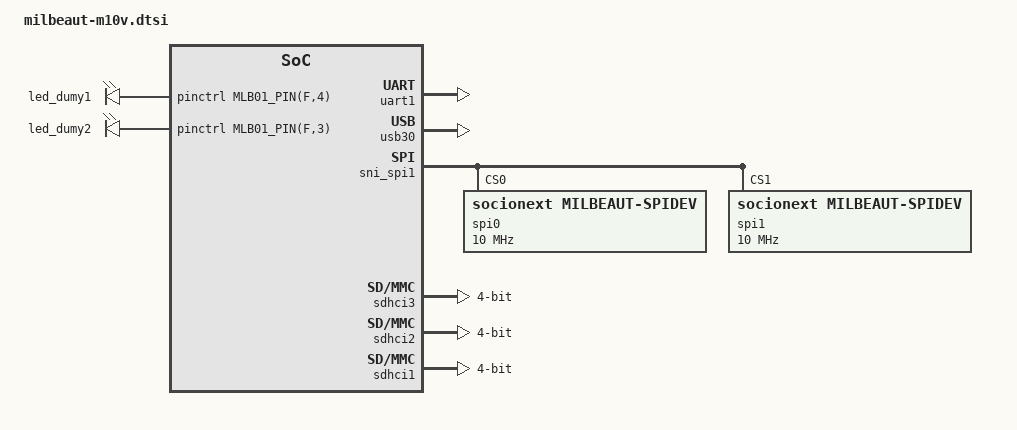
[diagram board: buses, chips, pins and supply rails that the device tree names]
// SPDX-License-Identifier: GPL-2.0
#include <dt-bindings/interrupt-controller/irq.h>
#include <dt-bindings/input/input.h>
#include <dt-bindings/gpio/gpio.h>
#include <dt-bindings/interrupt-controller/arm-gic.h>
#include <dt-bindings/clock/milbeaut,m10v-clock.h>
#include "milbeaut-m10v-gpio.h"
//#define MPCORE

/ {
	compatible = "socionext,sc2000a";
	interrupt-parent = <&gic>;
	#address-cells = <1>;
	#size-cells = <1>;


	timer { /* The Generic Timer */
		compatible = "arm,armv7-timer";
		interrupts = <GIC_PPI 13
				(GIC_CPU_MASK_SIMPLE(4) | IRQ_TYPE_LEVEL_HIGH)>,
			<GIC_PPI 14
				(GIC_CPU_MASK_SIMPLE(4) | IRQ_TYPE_LEVEL_HIGH)>,
			<GIC_PPI 11
				(GIC_CPU_MASK_SIMPLE(4) | IRQ_TYPE_LEVEL_HIGH)>,
			<GIC_PPI 10
				(GIC_CPU_MASK_SIMPLE(4) | IRQ_TYPE_LEVEL_HIGH)>;
		clock-frequency = <40000000>;
		always-on;
	};

	soc {
		compatible = "simple-bus";
		#address-cells = <1>;
		#size-cells = <1>;
		ranges;
		interrupt-parent = <&gic>;

		gic: interrupt-controller@1d001000 {
			compatible = "arm,cortex-a7-gic";
			interrupt-controller;
			#interrupt-cells = <3>;
			reg = <0x1d001000 0x1000>,
			      <0x1d002000 0x1000>; /* CPU I/f base and size */
			black-list = < >;
		};

		clk: m10v-clock-ctrl@1d021000 {
			compatible = "socionext,milbeaut-m10v-ccu";
			#clock-cells = <1>;
			reg = <0x1d021000 0x1000>;
			clocks = <&uclk40xi>;
		};

		timer@1e000050 { /* 32-bit Reload Timers */
			compatible = "socionext,milbeaut-timer";
			reg = <0x1e000050 0x20>;
			interrupts = <0 91 4>;
			clocks = <&clk M10V_RCLK_ID>;
		};

		uart1: serial@1e700010 { /* PE4, PE5 */
			/* Enable this as ttyUSI0 */
			compatible = "socionext,milbeaut-usio-uart";
			reg = <0x1e700010 0x10>;
			interrupts = <0 141 0x4>, <0 149 0x4>;
			interrupt-names = "rx", "tx";
			clocks = <&clk M10V_HCLK_ID>;
		};

#define NO_EXIU
		pinctrl: pinctrl@1d022000 {
			compatible = "socionext,milbeaut-m10v-pinctrl";
#ifdef NO_EXIU
			reg = <0x1d022000 0x1000>;
			reg-names = "pinctrl";
#else
			reg = <0x1d022000 0x1000>,
				<0x1c26f000 0x1000>;
			reg-names = "pinctrl", "exiu";
#endif
			blacklist = < >;
			gpio-controller;
			#gpio-cells = <2>;
			interrupt-controller;
			#interrupt-cells = <2>;
			clocks = <&clk M10V_RCLK_ID>;

			usio1pins: usio1pins {
				pins = "PE4", "PE5", "P87";
				function = "usio1";
			};
		};

		reset: resetcon@1b110000 {
			compatible = "socionext,milbeaut-m10v-reset";
			reg = <0x1b110000 0x10>, <0x1b110040 0x240>;
			#reset-cells = <1>;
		};

		usb30: usb30@19c00000 {
			compatible = "socionext,f_usb30dr_fp_m10v";
			#address-cells	= <1>;
			#size-cells	= <1>;
			ranges;
			resets = <&reset 5>, <&reset 6>;
			reset-names = "reset", "hif";
			dwc3: dwc3@19c00000 {
				compatible = "snps,dwc3";
				reg = <0x19c00000 0x100000>;
				interrupts = <0 264 0x4>;
				clocks = <&clk M10V_USB3CLK_ID>, <&dummy_clk>, <&dummy_clk>;
				clock-names = "ref", "bus_early", "suspend";
				snps,has-lpm-erratum = <1>;
				dr_mode = "peripheral";	/* or host */
				/* dr_mode = "host";*/
			};
		};

		hdmac1: hdmac@1e110000 {
			compatible = "socionext,milbeaut-m10v-hdmac";
			reg = <0x1e110000 0x10000>;
			interrupts = <0 132 4>,
				<0 133 4>,
				<0 134 4>,
				<0 135 4>,
				<0 136 4>,
				<0 137 4>,
				<0 138 4>,
				<0 139 4>;
			#dma-cells = <1>;
			priority-rotate;
			clocks = <&dummy_clk>;
		};

		sni_spi1: spi@1e800100 {
			compatible = "socionext,milbeaut-spi";
			clocks = <&clk M10V_SPICLK_ID>;
			interrupts = <0 157 4>;
			reg = <0x1e800100 0x100>;
			#address-cells = <1>;
			#size-cells = <0>;
			dmas = <&hdmac1 22>, <&hdmac1 21>;
			dma-names = "tx", "rx";
			fifo_size = <64>;
			cs-nums = <2>;
			dma_mode = <1>;

			spi0@0 {
				compatible = "socionext,milbeaut-spidev";
				reg = <0>;
				spi-max-frequency = <10000000>;
				ssout-cont = <2>;
				ss = <0>;
			};

			spi1@1 {
				compatible = "socionext,milbeaut-spidev";
				reg = <1>;
				spi-max-frequency = <10000000>;
				ssout-cont = <3>;
				ss = <1>;
			};

		};

		timer64: timer64@1e000100 {
			compatible = "socionext,milbeaut-timer64";
			reg = <0x1e000100 0x308>;
			clocks = <&clk M10V_RCLK_ID>;/* TODO: should be set GYROCLK */
			clock-names = "base";
			dmas = <&hdmac1 27>;
			dma-names = "rx";
		};

		sdhci3: mmc@1b010000 {
			compatible = "socionext,milbeaut-m10v-sdhci-3.0";
			reg = <0x1b010000 0x10000>;
			interrupts = <0 265 0x4>;
			voltage-ranges = <3300 3300>;
			bus-width = <4>;
			clocks = <&clk M10V_UHS1CLK2_ID>, <&dummy_clk>;
			clock-names = "core", "iface";
			cap-sdio-irq;
			fujitsu,cmd-dat-delay-select;
		};

		sdhci2: mmc@19130000 {
			compatible = "socionext,milbeaut-m10v-sdhci-4.0";
			reg = <0x1b020000 0x10000>, <0x19130200 0x200>,  <0x19130000 0x200>;
			reg-names = "uhs1", "uhs2", "uhs2_sn" ;
			interrupts = <0 268 0x4>, <0 271 0x4>;
			interrupt-names = "uhs1", "uhs2";
			voltage-ranges = <3300 3300>;
			bus-width = <4>;
			clocks = <&clk M10V_UHS2CLK_ID>, <&dummy_clk>;
			clock-names = "core", "iface";
			cap-sdio-irq;
			sd40_enable;
			uhs2-power-limit = <4>;
			fujitsu,cmd-dat-delay-select;
		};

		sdhci1: mmc@1b000000 { /* CH1 UHS-I/WiFi CN6 */
			compatible = "socionext,milbeaut-m10v-sdhci-3.0";
			reg = <0x1b000000 0x10000>;
			interrupts = <0 273 0x4>;
			bus-width = <4>;
			max-frequency = <208000000>;
			clocks = <&clk M10V_UHS1CLK0_ID>, <&dummy_clk>;
			clock-names = "core", "iface";
		};

		exstop_int: exsint@1b110f00 {
			compatible = "socionext,exsint-m10v";
			#address-cells  = <1>;
			#size-cells = <1>;
			reg = <0x1b110f00 0x4>, <0x1b110014 0x4>;
			ret-names = "intstat", "intmsk";
			interrupts = <0 281 0x4>;
		};

	};

#if 0
	sram@0 {
		compatible = "mmio-sram";
		reg = <0x0 0x10000>;
		#address-cells = <1>;
		#size-cells = <1>;
		ranges = <0 0x0 0x10000>;
		smp-sram@f100 {
			compatible = "socionext,milbeaut-smp-sram";
			reg = <0xf100 0x20>;
		};
	};
#endif

	snrtos_ipcu00: snrtos0@0 {
		compatible = "socionext,ipcu-device";
		reg = <0x1c251000 0x1000>;
	};

	snrtos_ipcu10: snrtos1@0 {
		compatible = "socionext,ipcu-device";
		reg = <0x1c252000 0x1000>;
	};
	gpio-leds {
		compatible = "gpio-leds";

		/* These leds are controlled by M0, use it only for debug */
/*		led10 {
			label = "led10";
			gpios = <&pinctrl_m0 MLB01_PIN(2,4) GPIO_ACTIVE_HIGH>;
			linux,default-trigger = "off";
		};
		led11 {
			label = "led11";
			gpios = <&pinctrl_m0 MLB01_PIN(2,5) GPIO_ACTIVE_HIGH>;
			linux,default-trigger = "off";
		};
		led12 {
			label = "led12";
			gpios = <&pinctrl_m0 MLB01_PIN(2,6) GPIO_ACTIVE_HIGH>;
			linux,default-trigger = "off";
		};
		led13 {
			label = "led13";
			gpios = <&pinctrl_m0 MLB01_PIN(2,7) GPIO_ACTIVE_HIGH>;
			linux,default-trigger = "off";
		};
*/

		led_dumy1 {
			label = "led_dumy1";
			gpios = <&pinctrl MLB01_PIN(F,4) GPIO_ACTIVE_HIGH>;
			linux,default-trigger = "off";
		};
		led_dumy2 {
			label = "led_dumy2";
			gpios = <&pinctrl MLB01_PIN(F,3) GPIO_ACTIVE_HIGH>;
			linux,default-trigger = "off";
		};
	};
	pcie0: pcie@19150000 {
		status = "disable";
		compatible = "socionext,mlb01-pcie";
		reg = <0x19150000 0x10000>, <0x197F0000 0x10000>, <0x1B111000 0x1000>;
		reg-names = "ctrlreg", "config", "exsreg";
		#address-cells = <3>;
		#size-cells = <2>;
		device_type = "pci";
		ranges = <0x81000000 0x00000000 0x00000000 0x197E0000 0x00000000 0x00010000
				  0x82000000 0x00000000 0x19400000 0x19400000 0x00000000 0x003E0000>;
		num-lanes = <2>;
		#interrupt-cells = <1>;
		interrupts = <0 243 4>, <0 245 4>;
	};
};
